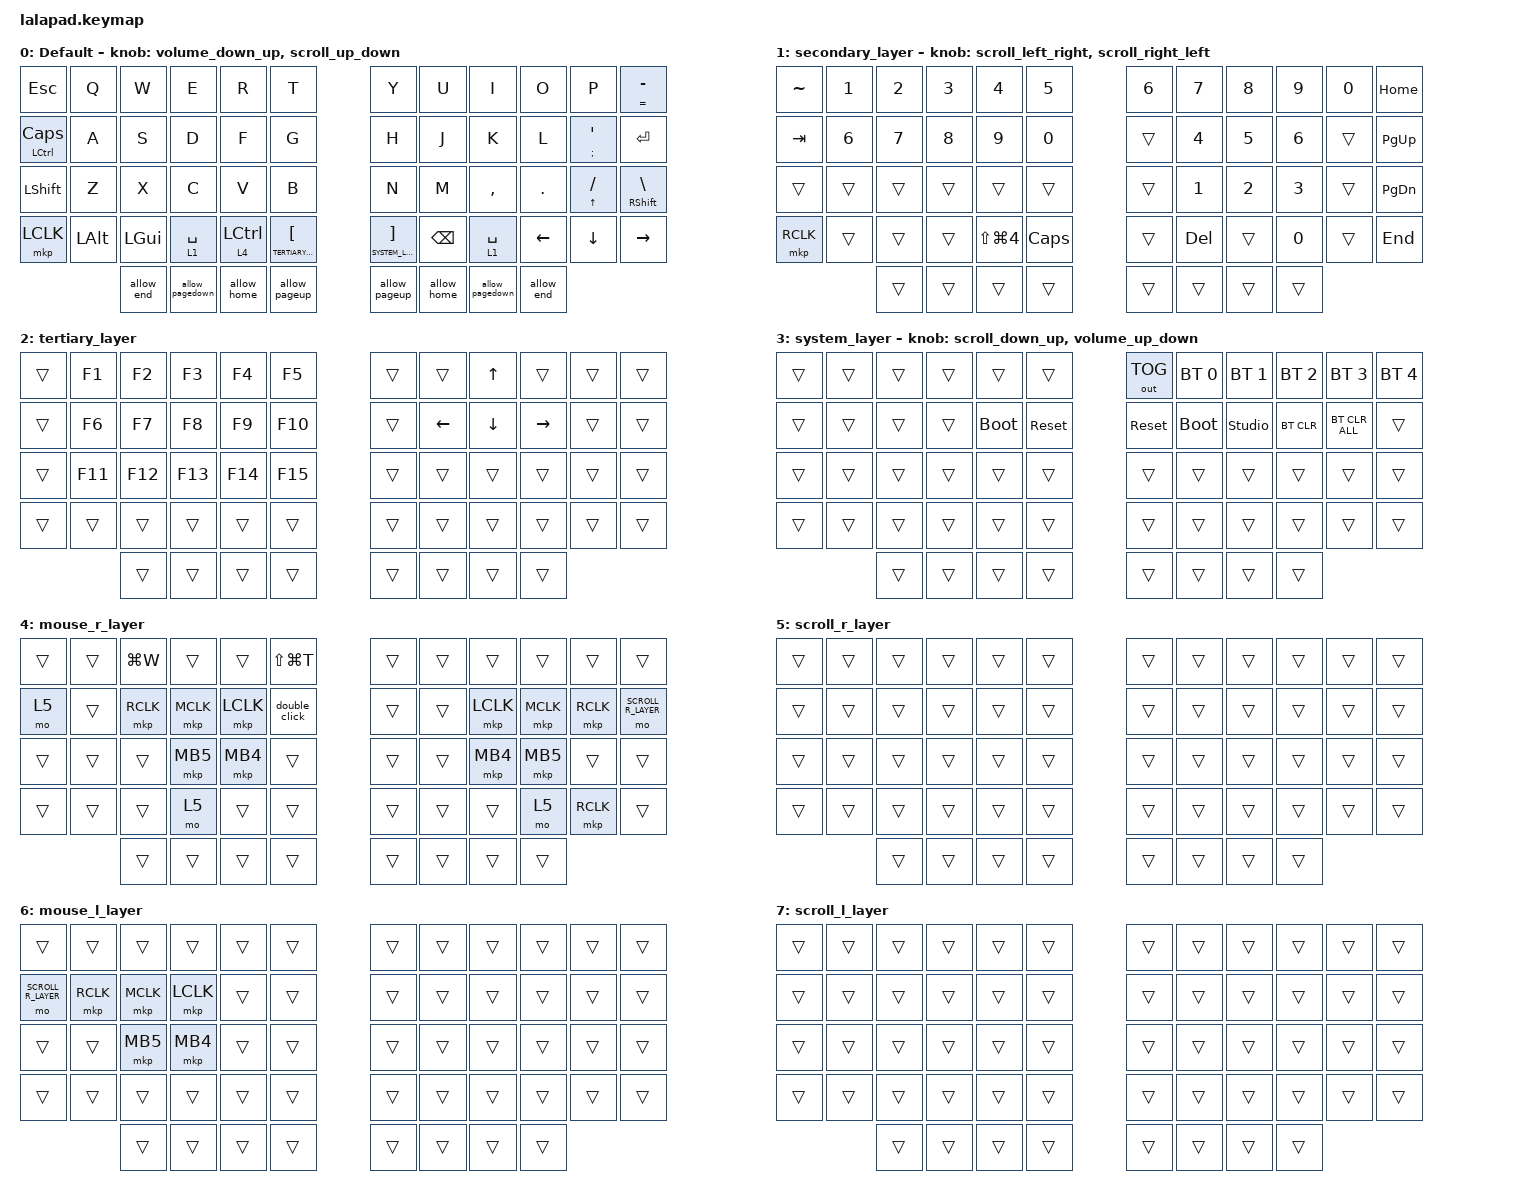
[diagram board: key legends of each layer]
#include <input/processors.dtsi>
#include <behaviors.dtsi>
#include <dt-bindings/zmk/bt.h>
#include <dt-bindings/zmk/keys.h>
#include <dt-bindings/zmk/outputs.h>
#include <dt-bindings/zmk/pointing.h>

#define DEFAULT_LAYER   0
#define SECONDARY_LAYER 1
#define TERTIARY_LAYER  2
#define SYSTEM_LAYER    3
#define MOUSE_R_LAYER   4
#define SCROLL_R_LAYER  5
#define MOUSE_L_LAYER   6
#define SCROLL_L_LAYER  7

// Mouse Scroll Value

#define ZMK_POINTING_DEFAULT_SCRL_VAL 100

// cirque trackpad input&layer control

&glidepoint_listener_R {
    input-processors =
        <&zip_xy_transform (INPUT_TRANSFORM_XY_SWAP | INPUT_TRANSFORM_X_INVERT | INPUT_TRANSFORM_Y_INVERT)>,
        <&zip_xy_scaler 3 2>,
        <&zip_temp_layer MOUSE_R_LAYER 500>;

    lowspeedmode {
        layers = <SECONDARY_LAYER>;
        input-processors =
            <&zip_xy_transform (INPUT_TRANSFORM_XY_SWAP | INPUT_TRANSFORM_X_INVERT | INPUT_TRANSFORM_Y_INVERT)>,
            <&zip_xy_scaler 3 5>,
            <&zip_temp_layer MOUSE_R_LAYER 500>;
    };

    scroller {
        layers = <SCROLL_R_LAYER>;
        input-processors =
            <&zip_xy_to_scroll_mapper>,
            <&zip_scroll_transform (INPUT_TRANSFORM_XY_SWAP | INPUT_TRANSFORM_Y_INVERT)>,
            <&zip_scroll_scaler 1 8>;
    };
};

&glidepoint_listener_L {
    input-processors =
        <&zip_xy_transform (INPUT_TRANSFORM_XY_SWAP | INPUT_TRANSFORM_X_INVERT | INPUT_TRANSFORM_Y_INVERT)>,
        <&zip_xy_scaler 3 2>,
        <&zip_temp_layer MOUSE_L_LAYER 500>;

    lowspeedmode {
        layers = <SECONDARY_LAYER>;
        input-processors =
            <&zip_xy_transform (INPUT_TRANSFORM_XY_SWAP | INPUT_TRANSFORM_X_INVERT | INPUT_TRANSFORM_Y_INVERT)>,
            <&zip_xy_scaler 3 4>,
            <&zip_temp_layer MOUSE_L_LAYER 500>;
    };

    scroller {
        layers = <SCROLL_L_LAYER>;
        input-processors =
            <&zip_xy_to_scroll_mapper>,
            <&zip_scroll_transform (INPUT_TRANSFORM_XY_SWAP | INPUT_TRANSFORM_Y_INVERT)>,
            <&zip_scroll_scaler 1 6>;
    };
};

/ {
    behaviors {
        // Encoder to Mouse Scroll

        scroll_up_down: sensor_scroll_up_down {
            compatible = "zmk,behavior-sensor-rotate";
            #sensor-binding-cells = <0>;
            bindings = <&msc SCRL_UP>, <&msc SCRL_DOWN>;

            tap-ms = <20>;
            label = "SCROLL_UP_DOWN";
        };

        scroll_down_up: sensor_scroll_down_up {
            compatible = "zmk,behavior-sensor-rotate";
            #sensor-binding-cells = <0>;
            bindings = <&msc SCRL_DOWN>, <&msc SCRL_UP>;

            tap-ms = <20>;
            label = "SCROLL_DOWN_UP";
        };

        scroll_left_right: sensor_scroll_left_right {
            compatible = "zmk,behavior-sensor-rotate";
            #sensor-binding-cells = <0>;
            bindings = <&msc SCRL_LEFT>, <&msc SCRL_RIGHT>;

            tap-ms = <20>;
            label = "SCROLL_LEFT_RIGHT";
        };

        scroll_right_left: sensor_scroll_right_left {
            compatible = "zmk,behavior-sensor-rotate";
            #sensor-binding-cells = <0>;
            bindings = <&msc SCRL_RIGHT>, <&msc SCRL_LEFT>;

            tap-ms = <20>;
            label = "SCROLL_RIGHT_LEFT";
        };

        volume_up_down: sensor_volume_up_down {
            compatible = "zmk,behavior-sensor-rotate";
            #sensor-binding-cells = <0>;
            bindings = <&kp C_VOLUME_UP>, <&kp C_VOLUME_DOWN>;

            tap-ms = <20>;
            label = "VOLUME_UP_DOWN";
        };

        dot_comma: dot_comma {
            compatible = "zmk,behavior-mod-morph";
            #binding-cells = <0>;
            bindings = <&kp KP_DOT>, <&kp COMMA>;

            mods = <(MOD_LSFT|MOD_RSFT)>;
            label = "DOT_COMMA";
        };

        pls_minus: pls_minus {
            compatible = "zmk,behavior-mod-morph";
            #binding-cells = <0>;
            bindings = <&kp PLUS>, <&kp MINUS>;

            mods = <(MOD_LSFT|MOD_RSFT)>;
            label = "PLS_MINUS";
        };

        allow_pageup: allow_pageup {
            compatible = "zmk,behavior-mod-morph";
            #binding-cells = <0>;
            bindings = <&kp UP>, <&kp PAGE_UP>;

            mods = <(MOD_LCTL|MOD_RCTL)>;
            label = "ALLOW_PAGEUP";
        };

        allow_pagedown: allow_pagedown {
            compatible = "zmk,behavior-mod-morph";
            #binding-cells = <0>;
            bindings = <&kp DOWN>, <&kp PAGE_DOWN>;

            mods = <(MOD_LCTL|MOD_RCTL)>;
            label = "ALLOW_PAGEDOWN";
        };

        allow_home: allow_home {
            compatible = "zmk,behavior-mod-morph";
            #binding-cells = <0>;
            bindings = <&kp LEFT>, <&kp HOME>;

            mods = <(MOD_LCTL|MOD_RCTL)>;
            label = "ALLOW_HOME";
        };

        allow_end: allow_end {
            compatible = "zmk,behavior-mod-morph";
            #binding-cells = <0>;
            bindings = <&kp RIGHT>, <&kp END>;

            mods = <(MOD_LCTL|MOD_RCTL)>;
            label = "ALLOW_END";
        };

        mt2: mod_tap2 {
            compatible = "zmk,behavior-hold-tap";
            #binding-cells = <2>;
            flavor = "tap-preferred";
            tapping-term-ms = <200>;
            quick-tap-ms = <200>;
            require-prior-idle-ms = <125>;
            bindings = <&kp>, <&kp>;
        };

        volume_down_up: volume_down_up {
            compatible = "zmk,behavior-sensor-rotate";
            #sensor-binding-cells = <0>;
            bindings = <&kp C_VOLUME_DOWN>, <&kp C_VOLUME_UP>;

            tap-ms = <20>;
            label = "VOLUME_DOWN_UP";
        };

        double_tap: double_tap {
            compatible = "zmk,behavior-tap-dance";
            label = "DOUBLE_TAP";
            #binding-cells = <0>;
            bindings = <&mkp LCLK>, <&double_click>;

            tapping-term-ms = <200>;
        };
    };

    combos {
        compatible = "zmk,combos";

        English {
            bindings = <&kp LANGUAGE_2>;
            key-positions = <15 16>;
        };

        Japanese {
            bindings = <&kp LANGUAGE_1>;
            key-positions = <19 20>;
        };

        Arrow {
            bindings = <&mo 2>;
            key-positions = <39 40>;
        };
    };

    macros {
        double_click: double_click {
            compatible = "zmk,behavior-macro";
            #binding-cells = <0>;
            bindings = <&mkp LCLK &mkp LCLK>;
            label = "DOUBLE_CLICK";
        };
    };

    keymap {
        compatible = "zmk,keymap";

        DEFAULT_LAYER {
            display-name = "Default";
            sensor-bindings = <&volume_down_up>, <&scroll_up_down>;

            bindings = <
&kp ESC          &kp Q         &kp W         &kp E            &kp R               &kp T                            &kp Y                           &kp U          &kp I            &kp O       &kp P          &mt2 EQUAL MINUS
&mt2 LCTRL CAPS  &kp A         &kp S         &kp D            &kp F               &kp G                            &kp H                           &kp J          &kp K            &kp L       &mt2 SEMI SQT  &kp ENTER
&kp LSHFT        &kp Z         &kp X         &kp C            &kp V               &kp B                            &kp N                           &kp M          &kp COMMA        &kp PERIOD  &mt2 UP SLASH  &mt RIGHT_SHIFT BSLH
&mkp LCLK        &kp LEFT_ALT  &kp LEFT_GUI  &lt 1 SPACE      &lt 4 LEFT_CONTROL  &lt TERTIARY_LAYER LEFT_BRACKET  &lt SYSTEM_LAYER RIGHT_BRACKET  &kp BACKSPACE  &lt 1 SPACE      &kp LEFT    &kp DOWN       &kp RIGHT
                               &allow_end    &allow_pagedown  &allow_home         &allow_pageup                    &allow_pageup                   &allow_home    &allow_pagedown  &allow_end
            >;
        };

        SECONDARY_LAYER {
            display-name = "secondary_layer";
            sensor-bindings = <&scroll_left_right>, <&scroll_right_left>;

            bindings = <
&kp TILDE  &kp NUMBER_1  &kp NUMBER_2  &kp NUMBER_3  &kp NUMBER_4          &kp NUMBER_5  &kp NUMBER_6  &kp N7        &kp N8        &kp N9        &kp N0  &kp HOME
&kp TAB    &kp NUMBER_6  &kp NUMBER_7  &kp NUMBER_8  &kp NUMBER_9          &kp NUMBER_0  &trans        &kp NUMBER_4  &kp N5        &kp NUMBER_6  &trans  &kp PG_UP
&trans     &trans        &trans        &trans        &trans                &trans        &trans        &kp NUMBER_1  &kp NUMBER_2  &kp NUMBER_3  &trans  &kp PAGE_DOWN
&mkp RCLK  &trans        &trans        &trans        &kp LS(LG(NUMBER_4))  &kp CAPS      &trans        &kp DELETE    &trans        &kp N0        &trans  &kp END
                         &trans        &trans        &trans                &trans        &trans        &trans        &trans        &trans
            >;
        };

        TERTIARY_LAYER {
            display-name = "tertiary_layer";
            bindings = <
&trans  &kp F1   &kp F2   &kp F3   &kp F4   &kp F5   &trans  &trans          &kp UP_ARROW    &trans           &trans  &trans
&trans  &kp F6   &kp F7   &kp F8   &kp F9   &kp F10  &trans  &kp LEFT_ARROW  &kp DOWN_ARROW  &kp RIGHT_ARROW  &trans  &trans
&trans  &kp F11  &kp F12  &kp F13  &kp F14  &kp F15  &trans  &trans          &trans          &trans           &trans  &trans
&trans  &trans   &trans   &trans   &trans   &trans   &trans  &trans          &trans          &trans           &trans  &trans
                 &trans   &trans   &trans   &trans   &trans  &trans          &trans          &trans
            >;
        };

        SYSTEM_LAYER {
            display-name = "system_layer";
            sensor-bindings = <&scroll_down_up>, <&volume_up_down>;

            bindings = <
&trans  &trans  &trans  &trans  &trans       &trans      &out OUT_TOG  &bt BT_SEL 0  &bt BT_SEL 1    &bt BT_SEL 2  &bt BT_SEL 3    &bt BT_SEL 4
&trans  &trans  &trans  &trans  &bootloader  &sys_reset  &sys_reset    &bootloader   &studio_unlock  &bt BT_CLR    &bt BT_CLR_ALL  &trans
&trans  &trans  &trans  &trans  &trans       &trans      &trans        &trans        &trans          &trans        &trans          &trans
&trans  &trans  &trans  &trans  &trans       &trans      &trans        &trans        &trans          &trans        &trans          &trans
                &trans  &trans  &trans       &trans      &trans        &trans        &trans          &trans
            >;
        };

        MOUSE_R_LAYER {
            display-name = "mouse_r_layer";
            bindings = <
&trans  &trans  &kp LG(W)  &trans     &trans     &kp LS(LG(T))  &trans  &trans  &trans     &trans     &trans     &trans
&mo 5   &trans  &mkp RCLK  &mkp MCLK  &mkp LCLK  &double_click  &trans  &trans  &mkp LCLK  &mkp MCLK  &mkp RCLK  &mo SCROLL_R_LAYER
&trans  &trans  &trans     &mkp MB5   &mkp MB4   &trans         &trans  &trans  &mkp MB4   &mkp MB5   &trans     &trans
&trans  &trans  &trans     &mo 5      &trans     &trans         &trans  &trans  &trans     &mo 5      &mkp RCLK  &trans
                &trans     &trans     &trans     &trans         &trans  &trans  &trans     &trans
            >;
        };

        SCROLL_R_LAYER {
            display-name = "scroll_r_layer";
            bindings = <
&trans  &trans  &trans  &trans  &trans  &trans  &trans  &trans  &trans  &trans  &trans  &trans
&trans  &trans  &trans  &trans  &trans  &trans  &trans  &trans  &trans  &trans  &trans  &trans
&trans  &trans  &trans  &trans  &trans  &trans  &trans  &trans  &trans  &trans  &trans  &trans
&trans  &trans  &trans  &trans  &trans  &trans  &trans  &trans  &trans  &trans  &trans  &trans
                &trans  &trans  &trans  &trans  &trans  &trans  &trans  &trans
            >;
        };

        MOUSE_L_LAYER {
            display-name = "mouse_l_layer";
            bindings = <
&trans              &trans     &trans     &trans     &trans  &trans  &trans  &trans  &trans  &trans  &trans  &trans
&mo SCROLL_R_LAYER  &mkp RCLK  &mkp MCLK  &mkp LCLK  &trans  &trans  &trans  &trans  &trans  &trans  &trans  &trans
&trans              &trans     &mkp MB5   &mkp MB4   &trans  &trans  &trans  &trans  &trans  &trans  &trans  &trans
&trans              &trans     &trans     &trans     &trans  &trans  &trans  &trans  &trans  &trans  &trans  &trans
                               &trans     &trans     &trans  &trans  &trans  &trans  &trans  &trans
            >;
        };

        SCROLL_L_LAYER {
            display-name = "scroll_l_layer";
            bindings = <
&trans  &trans  &trans  &trans  &trans  &trans  &trans  &trans  &trans  &trans  &trans  &trans
&trans  &trans  &trans  &trans  &trans  &trans  &trans  &trans  &trans  &trans  &trans  &trans
&trans  &trans  &trans  &trans  &trans  &trans  &trans  &trans  &trans  &trans  &trans  &trans
&trans  &trans  &trans  &trans  &trans  &trans  &trans  &trans  &trans  &trans  &trans  &trans
                &trans  &trans  &trans  &trans  &trans  &trans  &trans  &trans
            >;
        };
    };
};
